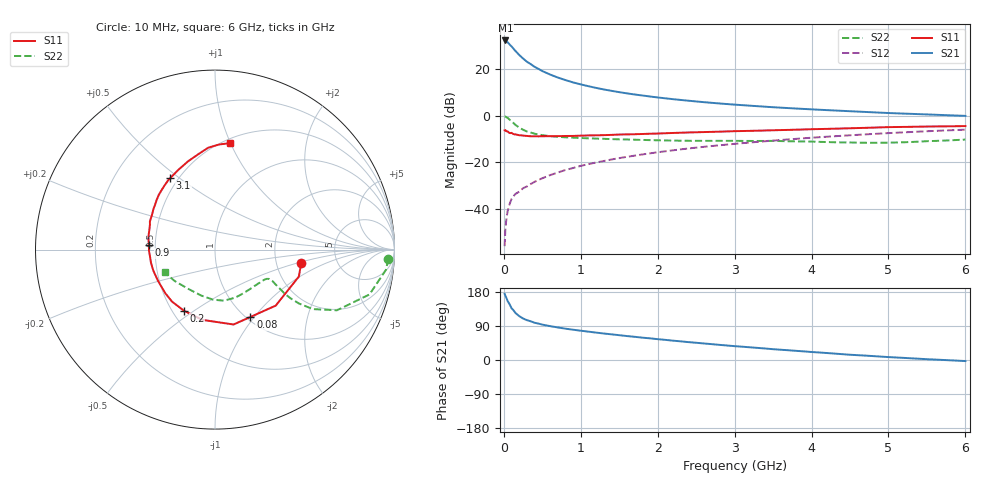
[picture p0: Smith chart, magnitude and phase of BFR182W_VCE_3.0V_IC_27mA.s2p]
! Infineon Technologies  Discrete & RF Semiconductors
! BFR182W
! VCE =  3.0 V,  IC =  27 mA
! Common Emitter S-Parameters:  Jan 2017
# GHz  S  MA  R  50
!  f  S11  S21  S12  S22
! GHz  MAG  ANG  MAG  ANG  MAG  ANG  MAG  ANG
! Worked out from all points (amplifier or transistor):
!   77 points, 10 MHz to 6 GHz, reference 50 ohm
!   highest |S21| = 32.3 dB at 20 MHz (marker M1)
!   |S21| within 3 dB of that: start of sweep to 112.1 MHz
!   unconditionally stable (mu >= 1): 617.7 MHz to 2.264 GHz
!   at 130 MHz: K = 0.49, MSG = 31.4 dB, |S12| = -34.3 dB
!   at 2.2 GHz: K = 1.01, MAG = 10.5 dB, |S12| = -14.8 dB
!   at 6 GHz: K = 0.87, MSG = 3.0 dB, |S12| = -6.0 dB
!   S11 on the Smith chart (normalised r, x): 10 MHz: 2.77, -0.55; 80 MHz: 1.04, -0.96; 200 MHz: 0.57, -0.46; 900 MHz: 0.46, +0.03; 3.1 GHz: 0.45, +0.46; 6 GHz: 0.54, +1.00
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0.01  0.486 -9.0  40.91 174.6  0.0016 85.5  0.9672 -3.1
0.02  0.4908 -17.8  41.01 169.6  0.0037 85.1  0.9586 -6.8
0.05  0.4603 -42.7  37.54 155.2  0.0091 74.8  0.8963 -16.2
0.08  0.424 -62.3  32.96 145.0  0.0135 70.8  0.8101 -22.0
0.1  0.43 -76.1  30.62 136.7  0.0164 69.3  0.7581 -26.5
0.15  0.3978 -100.1  24.52 124.3  0.0211 64.2  0.6381 -31.3
0.2  0.3819 -116.9  20.03 115.8  0.0235 63.6  0.5563 -32.7
0.25  0.376 -129.5  16.8 109.5  0.028 63.8  0.4999 -32.8
0.3  0.3685 -138.7  14.36 105.1  0.0305 64.5  0.4587 -32.3
0.4  0.3621 -151.6  11.16 98.3  0.0383 67.4  0.4112 -30.7
0.5  0.3631 -161.1  9.057 93.4  0.0457 68.9  0.3829 -29.6
0.6  0.3641 -168.5  7.642 89.4  0.0532 69.7  0.3653 -28.7
0.7  0.3645 -174.6  6.592 86.0  0.0604 71.7  0.3536 -28.4
0.9  0.3687 176.3  5.174 79.9  0.0758 71.7  0.3384 -28.8
1.1  0.378 168.6  4.286 74.8  0.0919 72.0  0.3279 -30.1
1.3  0.3832 162.1  3.654 69.9  0.107 71.7  0.3198 -32.2
1.5  0.3952 156.6  3.197 65.5  0.1233 70.9  0.3117 -35.0
2.1  0.4207 141.8  2.36 53.1  0.173 67.9  0.2951 -46.9
3.1  0.4697 122.2  1.684 35.1  0.258 60.2  0.2885 -70.9
4.1  0.5178 105.8  1.343 19.8  0.3461 51.1  0.2756 -94.9
5.1  0.5723 92.5  1.126 6.6  0.4317 40.8  0.2668 -128.4
6  0.5991 82.0  0.992 -2.8  0.5029 31.1  0.3084 -155.6
